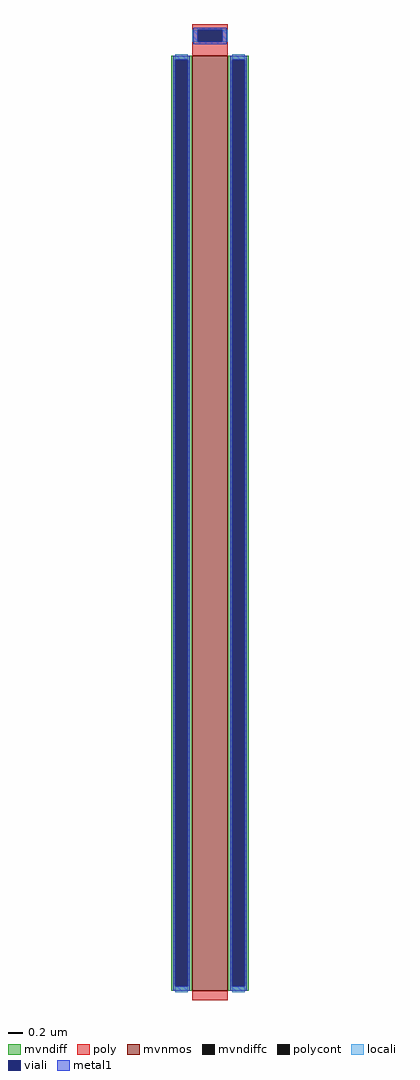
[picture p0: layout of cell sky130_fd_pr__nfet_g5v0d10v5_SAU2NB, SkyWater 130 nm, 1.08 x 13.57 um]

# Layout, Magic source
magic
tech sky130A
magscale 1 2
<< mvnmos >>
rect -50 -1331 50 1269
<< mvndiff >>
rect -108 1257 -50 1269
rect -108 -1319 -96 1257
rect -62 -1319 -50 1257
rect -108 -1331 -50 -1319
rect 50 1257 108 1269
rect 50 -1319 62 1257
rect 96 -1319 108 1257
rect 50 -1331 108 -1319
<< mvndiffc >>
rect -96 -1319 -62 1257
rect 62 -1319 96 1257
<< poly >>
rect -50 1341 50 1357
rect -50 1307 -34 1341
rect 34 1307 50 1341
rect -50 1269 50 1307
rect -50 -1357 50 -1331
<< polycont >>
rect -34 1307 34 1341
<< locali >>
rect -50 1307 -34 1341
rect 34 1307 50 1341
rect -96 1257 -62 1273
rect -96 -1335 -62 -1319
rect 62 1257 96 1273
rect 62 -1335 96 -1319
<< viali >>
rect -34 1307 34 1341
rect -96 -1319 -62 1257
rect 62 -1319 96 1257
<< metal1 >>
rect -46 1341 46 1347
rect -46 1307 -34 1341
rect 34 1307 46 1341
rect -46 1301 46 1307
rect -102 1257 -56 1269
rect -102 -1319 -96 1257
rect -62 -1319 -56 1257
rect -102 -1331 -56 -1319
rect 56 1257 102 1269
rect 56 -1319 62 1257
rect 96 -1319 102 1257
rect 56 -1331 102 -1319
<< properties >>
string gencell sky130_fd_pr__nfet_g5v0d10v5
string library sky130
string parameters w 13 l 0.5 m 1 nf 1 diffcov 100 polycov 100 guard 0 glc 1 grc 1 gtc 1 gbc 1 tbcov 100 rlcov 100 topc 1 botc 0 poverlap 0 doverlap 1 lmin 0.50 wmin 0.42 compatible {sky130_fd_pr__nfet_01v8 sky130_fd_pr__nfet_01v8_lvt  sky130_fd_bs_flash__special_sonosfet_star  sky130_fd_pr__nfet_g5v0d10v5 sky130_fd_pr__nfet_05v0_nvt  sky130_fd_pr__nfet_03v3_nvt} full_metal 1 viasrc 100 viadrn 100 viagate 100 viagb 0 viagr 0 viagl 0 viagt 0
<< end >>
